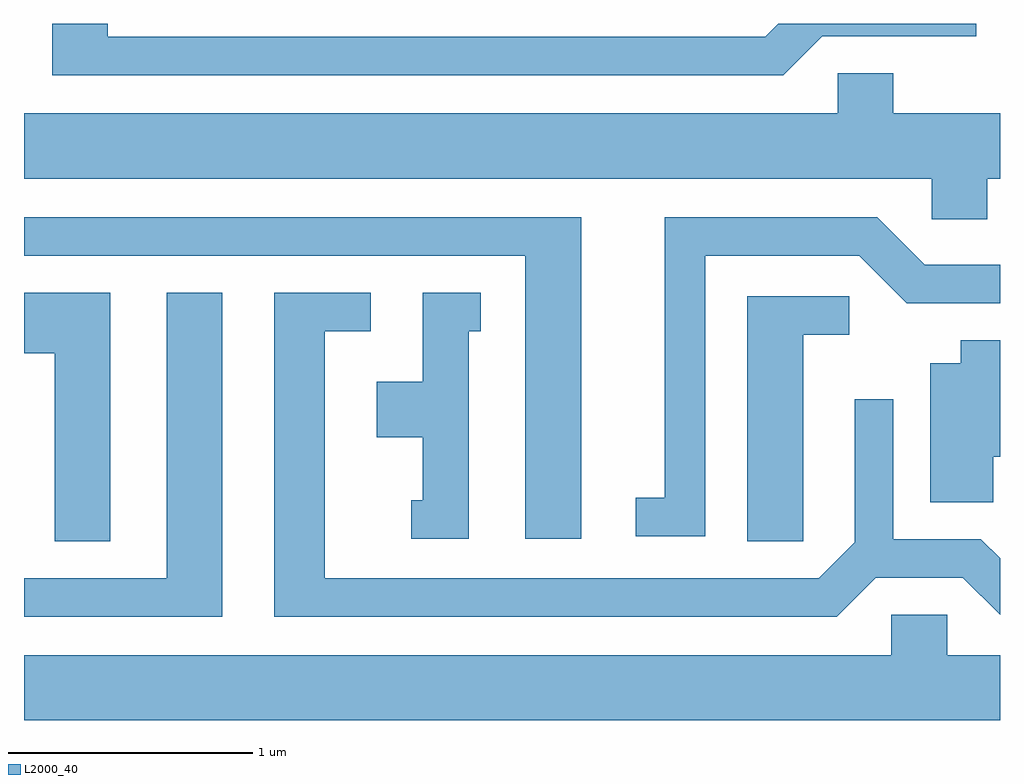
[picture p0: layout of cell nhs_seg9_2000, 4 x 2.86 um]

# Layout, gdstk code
import gdstk
lib = gdstk.Library(unit=1e-6, precision=1e-09)
def P(c, l, *ps):  # polygons
    for p in ps: c.add(gdstk.Polygon(p, *l))
L2000_40 = (2000, 40)

nhs_seg9_2000 = lib.new_cell('nhs_seg9_2000')
P(nhs_seg9_2000, L2000_40, [(246.882,2012.381),(247.514,2012.381),(247.514,2012.432),(246.702,2012.432),(246.649,2012.379),(243.954,2012.379),(243.954,2012.432),(243.726,2012.432),(243.726,2012.221),(246.722,2012.221)],
  [(247.559,2011.796),(247.611,2011.796),(247.611,2012.064),(247.174,2012.064),(247.174,2012.229),(246.946,2012.229),(246.946,2012.064),(243.611,2012.064),(243.611,2011.796),(247.331,2011.796),(247.331,2011.631),(247.559,2011.631)],
  [(246.404,2011.481),(247.034,2011.481),(247.229,2011.286),(247.611,2011.286),(247.611,2011.444),(247.302,2011.444),(247.107,2011.639),(246.236,2011.639),(246.236,2010.489),(246.118,2010.489),(246.118,2010.331),(246.404,2010.331)],
  [(245.894,2011.639),(243.611,2011.639),(243.611,2011.481),(245.666,2011.481),(245.666,2010.321),(245.894,2010.321)],
  [(245.434,2011.171),(245.483,2011.171),(245.483,2011.329),(245.246,2011.329),(245.246,2010.964),(245.056,2010.964),(245.056,2010.736),(245.246,2010.736),(245.246,2010.479),(245.198,2010.479),(245.198,2010.321),(245.434,2010.321)],
  [(243.964,2011.329),(243.611,2011.329),(243.611,2011.081),(243.736,2011.081),(243.736,2010.311),(243.964,2010.311)],
  [(244.424,2011.329),(244.196,2011.329),(244.196,2010.159),(243.611,2010.159),(243.611,2010.001),(244.424,2010.001)],
  [(247.102,2010.161),(247.459,2010.161),(247.611,2010.009),(247.611,2010.24),(247.532,2010.319),(247.174,2010.319),(247.174,2010.893),(247.016,2010.893),(247.016,2010.307),(246.869,2010.159),(244.844,2010.159),(244.844,2011.171),(245.033,2011.171),(245.033,2011.329),(244.636,2011.329),(244.636,2010.001),(246.942,2010.001)],
  [(246.804,2011.156),(246.993,2011.156),(246.993,2011.314),(246.576,2011.314),(246.576,2010.311),(246.804,2010.311)],
  [(247.584,2010.656),(247.611,2010.656),(247.611,2011.134),(247.451,2011.134),(247.451,2011.039),(247.326,2011.039),(247.326,2010.471),(247.584,2010.471)],
  [(247.611,2009.844),(247.394,2009.844),(247.394,2010.009),(247.166,2010.009),(247.166,2009.844),(243.611,2009.844),(243.611,2009.576),(247.611,2009.576)])

lib.write_gds('nhs_seg9_2000.gds')
